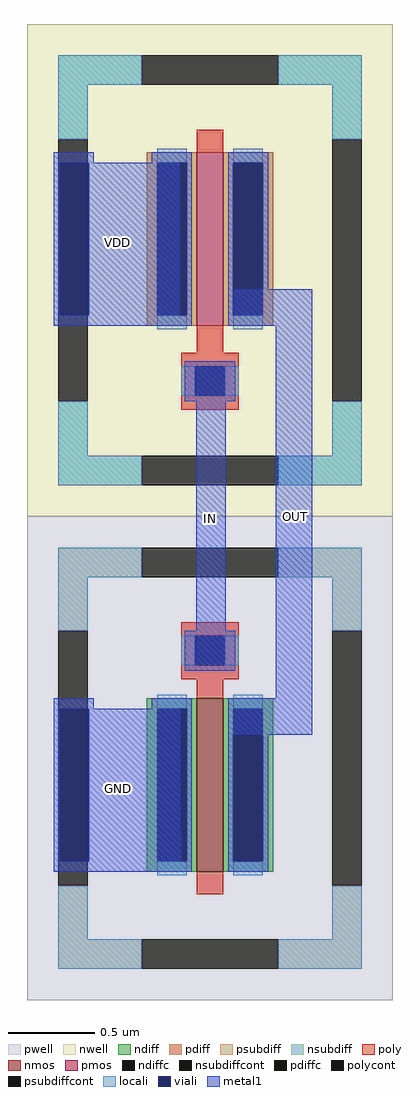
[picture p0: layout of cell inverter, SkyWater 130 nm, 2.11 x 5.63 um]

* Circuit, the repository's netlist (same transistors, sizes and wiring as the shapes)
** sch_path: /home/jevon/project-polytron/inverter.sch
.subckt inverter vdd in OUT gnd
*.PININFO vdd:I in:I gnd:I OUT:O
XM1 OUT in gnd gnd sky130_fd_pr__nfet_01v8 L=0.15 W=1 nf=1 m=1
XM2 OUT in vdd vdd sky130_fd_pr__pfet_01v8 L=0.15 W=1 nf=1 m=1
.ends
.end

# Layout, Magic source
magic
tech sky130A
magscale 1 2
<< viali >>
rect -17 800 17 976
rect -17 170 17 346
<< metal1 >>
rect -23 976 23 988
rect -23 800 -17 976
rect 17 800 122 976
rect -23 788 122 800
rect 185 788 275 830
rect 141 396 175 741
rect 233 358 275 788
rect -23 346 23 358
rect -23 170 -17 346
rect 17 200 123 346
rect 178 316 275 358
rect 17 170 124 200
rect -23 158 124 170
use sky130_fd_pr__nfet_01v8_64Z3AY  XM1
transform 1 0 157 0 1 289
box -211 -279 211 279
use sky130_fd_pr__pfet_01v8_LGS3BL  XM2
transform 1 0 157 0 1 852
box -211 -284 211 284
<< labels >>
flabel metal1 50 884 50 884 0 FreeSans 160 0 0 0 VDD
port 0 nsew
flabel metal1 52 254 52 254 0 FreeSans 160 0 0 0 GND
port 1 nsew
flabel metal1 158 566 158 566 0 FreeSans 160 0 0 0 IN
port 2 nsew
flabel metal1 256 568 256 568 0 FreeSans 160 0 0 0 OUT
port 3 nsew
<< end >>

# cell sky130_fd_pr__nfet_01v8_64Z3AY: kit device sky130_fd_pr__nfet_01v8, w 1.0 l 0.15 m 1 nf 1 diffcov 100 polycov 100 guard 1 glc 1 grc 1 gtc 1 gbc 1 tbcov 100 rlcov 100 topc 1 botc 0 poverlap 0 doverlap 1 lmin 0.15 wmin 0.42 compatible {sky130_fd_pr__nfet_01v8 sky130_fd_pr__nfet_01v8_lvt sky130_fd_bs_flash__special_sonosfet_star sky130_fd_pr__nfet_g5v0d10v5 sky130_fd_pr__nfet_05v0_nvt sky130_fd_pr__nfet_03v3_nvt} full_metal 1 viasrc 100 viadrn 100 viagate 100 viagb 0 viagr 0 viagl 0 viagt 0

# cell sky130_fd_pr__pfet_01v8_LGS3BL: kit device sky130_fd_pr__pfet_01v8, w 1.0 l 0.15 m 1 nf 1 diffcov 100 polycov 100 guard 1 glc 1 grc 1 gtc 1 gbc 1 tbcov 100 rlcov 100 topc 0 botc 1 poverlap 0 doverlap 1 lmin 0.15 wmin 0.42 compatible {sky130_fd_pr__pfet_01v8 sky130_fd_pr__pfet_01v8_lvt sky130_fd_pr__pfet_01v8_hvt sky130_fd_pr__pfet_g5v0d10v5} full_metal 1 viasrc 100 viadrn 100 viagate 100 viagb 0 viagr 0 viagl 0 viagt 0
